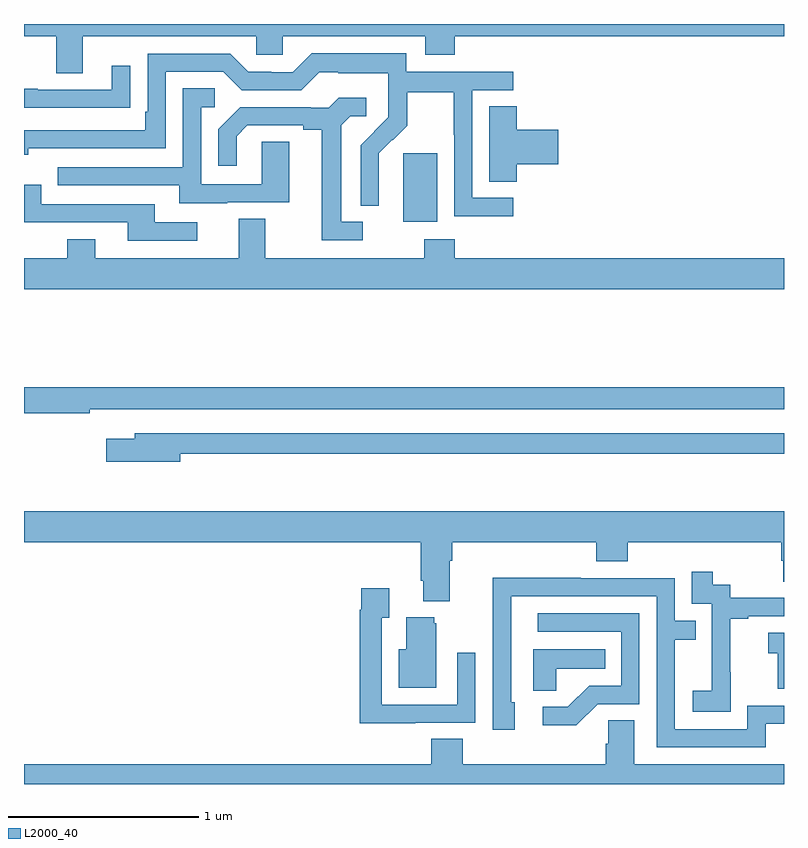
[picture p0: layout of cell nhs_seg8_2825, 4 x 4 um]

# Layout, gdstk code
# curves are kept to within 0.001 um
import gdstk
lib = gdstk.Library(unit=1e-6, precision=1e-09)
def R(c, l, rs):  # rectangles x0, y0, x1, y1
    for r in rs: c.add(gdstk.rectangle(r[:2], r[2:], *l))
def P(c, l, *ps):  # polygons
    for p in ps: c.add(gdstk.Polygon(p, *l))
L2000_40 = (2000, 40)

nhs_seg8_2825 = lib.new_cell('nhs_seg8_2825')
R(nhs_seg8_2825, L2000_40, [(290.996,1112.858,291.175,1113.219)])
P(nhs_seg8_2825, L2000_40, [(289.309,1113.836),(290.223,1113.836),(290.223,1113.738),(290.361,1113.738),(290.361,1113.836),(291.113,1113.836),(291.113,1113.737),(291.266,1113.737),(291.266,1113.836),(293,1113.836),(293,1113.9),(289,1113.9),(289,1113.836),(289.169,1113.836),(289.169,1113.642),(289.309,1113.642)],
  [(291.574,1112.985),(291.36,1112.985),(291.36,1113.552),(291.574,1113.552),(291.574,1113.648),(291.012,1113.648),(291.012,1113.745),(290.515,1113.745),(290.415,1113.645),(290.3,1113.645),(290.3,1113.648),(290.181,1113.648),(290.085,1113.744),(289.65,1113.744),(289.65,1113.439),(289.637,1113.439),(289.637,1113.342),(289,1113.342),(289,1113.212),(289.022,1113.212),(289.022,1113.246),(289.746,1113.246),(289.746,1113.648),(290.049,1113.648),(290.145,1113.552),(290.46,1113.552),(290.553,1113.645),(290.653,1113.645),(290.653,1113.641),(290.916,1113.641),(290.916,1113.507),(290.918,1113.507),(290.918,1113.41),(290.772,1113.262),(290.772,1112.944),(290.868,1112.944),(290.867,1113.221),(290.937,1113.291),(290.94,1113.288),(291.017,1113.365),(291.017,1113.54),(291.262,1113.54),(291.262,1113.316),(291.264,1113.316),(291.264,1112.887),(291.574,1112.887)],
  [(289.457,1113.46),(289.559,1113.46),(289.559,1113.679),(289.463,1113.679),(289.463,1113.555),(289.073,1113.555),(289.073,1113.56),(289,1113.56),(289,1113.459),(289.457,1113.459)],
  [(290.071,1112.961),(290.395,1112.961),(290.395,1113.281),(290.25,1113.281),(290.25,1113.057),(289.932,1113.057),(289.932,1113.462),(290.005,1113.462),(290.005,1113.563),(289.836,1113.563),(289.836,1113.147),(289.177,1113.147),(289.177,1113.051),(289.817,1113.051),(289.817,1112.957),(290.071,1112.957)],
  [(290.782,1112.859),(290.671,1112.859),(290.671,1113.367),(290.718,1113.414),(290.8,1113.414),(290.8,1113.511),(290.656,1113.511),(290.604,1113.459),(290.51,1113.459),(290.51,1113.462),(290.138,1113.462),(290.022,1113.346),(290.022,1113.153),(290.119,1113.153),(290.119,1113.309),(290.176,1113.366),(290.471,1113.366),(290.471,1113.344),(290.567,1113.344),(290.567,1112.763),(290.782,1112.763)],
  [(291.593,1113.161),(291.811,1113.161),(291.811,1113.344),(291.593,1113.344),(291.593,1113.467),(291.449,1113.467),(291.449,1113.07),(291.593,1113.07)],
  [(289.912,1112.856),(289.687,1112.856),(289.687,1112.952),(289.092,1112.952),(289.092,1113.055),(289,1113.055),(289,1112.856),(289.547,1112.856),(289.547,1112.76),(289.912,1112.76)],
  [(293,1112.668),(291.266,1112.668),(291.266,1112.767),(291.106,1112.767),(291.106,1112.668),(290.269,1112.668),(290.269,1112.876),(290.129,1112.876),(290.129,1112.668),(289.375,1112.668),(289.375,1112.767),(289.228,1112.767),(289.228,1112.668),(289,1112.668),(289,1112.504),(293,1112.504)],
  [(289.346,1111.872),(293,1111.872),(293,1111.988),(289,1111.988),(289,1111.852),(289.346,1111.852)],
  [(289.822,1111.638),(293,1111.638),(293,1111.746),(289.583,1111.746),(289.583,1111.717),(289.434,1111.717),(289.434,1111.595),(289.822,1111.595)],
  [(291.241,1111.076),(291.254,1111.076),(291.254,1111.172),(292.013,1111.172),(292.013,1111.073),(292.178,1111.073),(292.178,1111.172),(292.985,1111.172),(292.985,1111.074),(292.997,1111.074),(292.997,1110.964),(293,1110.964),(293,1111.336),(289,1111.336),(289,1111.172),(291.089,1111.172),(291.089,1110.97),(291.101,1110.97),(291.101,1110.863),(291.241,1110.863)],
  [(292.719,1110.487),(292.718,1110.487),(292.718,1110.771),(292.813,1110.771),(292.813,1110.783),(293,1110.783),(293,1110.879),(292.716,1110.879),(292.716,1110.948),(292.624,1110.948),(292.624,1111.018),(292.515,1111.018),(292.515,1110.849),(292.62,1110.849),(292.62,1110.62),(292.619,1110.62),(292.619,1110.391),(292.521,1110.391),(292.521,1110.281),(292.719,1110.281)],
  [(292.903,1110.216),(293,1110.216),(293,1110.312),(292.806,1110.312),(292.806,1110.189),(292.425,1110.189),(292.425,1110.658),(292.535,1110.658),(292.535,1110.759),(292.425,1110.759),(292.425,1110.984),(291.929,1110.984),(291.929,1110.986),(291.466,1110.986),(291.466,1110.679),(291.468,1110.679),(291.468,1110.186),(291.583,1110.186),(291.583,1110.33),(291.564,1110.33),(291.564,1110.888),(292.329,1110.888),(292.329,1110.093),(292.903,1110.093)],
  [(291.059,1110.222),(291.375,1110.222),(291.375,1110.592),(291.279,1110.592),(291.279,1110.318),(290.883,1110.318),(290.883,1110.775),(290.923,1110.775),(290.923,1110.931),(290.775,1110.931),(290.775,1110.818),(290.767,1110.818),(290.767,1110.221),(291.059,1110.221)],
  [(292.02,1110.321),(292.239,1110.321),(292.239,1110.798),(291.705,1110.798),(291.705,1110.702),(292.143,1110.702),(292.143,1110.417),(291.974,1110.417),(291.863,1110.306),(291.729,1110.306),(291.729,1110.209),(291.907,1110.209)],
  [(291.169,1110.747),(291.158,1110.747),(291.158,1110.778),(291.011,1110.778),(291.011,1110.61),(290.972,1110.61),(290.972,1110.407),(291.169,1110.407)],
  [(293,1110.697),(292.917,1110.697),(292.917,1110.587),(292.966,1110.587),(292.966,1110.402),(293,1110.402)],
  [(291.801,1110.506),(292.058,1110.506),(292.058,1110.61),(291.68,1110.61),(291.68,1110.391),(291.801,1110.391)],
  [(293,1110.004),(292.213,1110.004),(292.213,1110.236),(292.074,1110.236),(292.074,1110.113),(292.061,1110.113),(292.061,1110.004),(291.308,1110.004),(291.308,1110.137),(291.143,1110.137),(291.143,1110.004),(289,1110.004),(289,1109.9),(293,1109.9)])

lib.write_gds('nhs_seg8_2825.gds')
